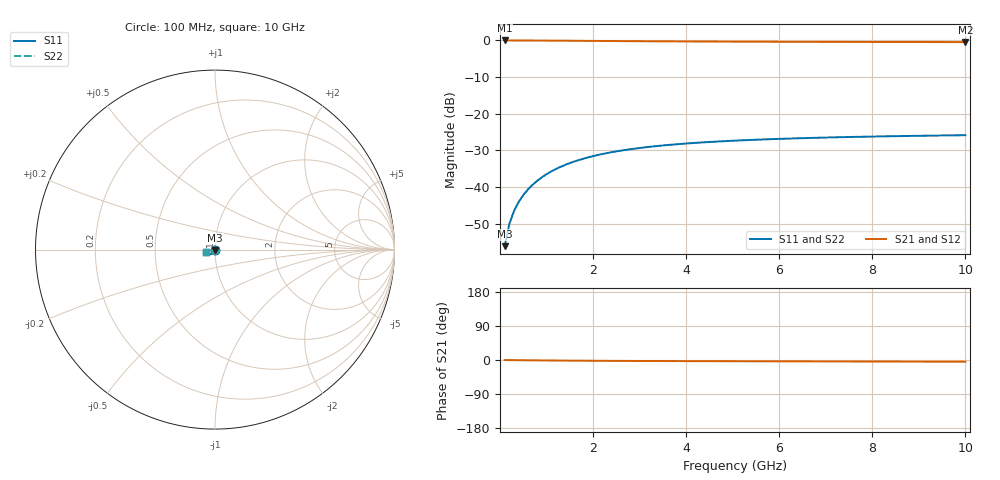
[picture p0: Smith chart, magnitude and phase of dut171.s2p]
! Touchstone file exported from HFSS 2024.1.0
!  File:  C:/UserFiles/LocalFiles/RDL_TSV_Batchsim/temp_TSV1_171_1779383256.aedt
!  Generated:  01:12:28 AM May 22, 2026
!  Design:  TSV1
!  Project:  temp_TSV1_171_1779383256
!  Setup:  Setup1
!  Solution:  Sweep
! Variables:
!  dtsv = 14.91um
!  hbump = 3um
!  htsv = 66.43um
!  lrdl = 252.1521522um
!  p = 40
!  p1 = 53.48um
!  t = 500um
!  trdl = 3um
!  wrdl = 24.89489489um
# GHz S MA R 50.000000
! Terminal data exported
! Port[1] = TSV22_T1
! Port[2] = TSV22_T2
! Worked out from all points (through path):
!   100 points, 100 MHz to 10 GHz, reference 50 ohm
!   highest |S21| = 0.00 dB at 100 MHz (marker M1); lowest = -0.4 dB at 10 GHz (marker M2)
!   lowest |S11| = -56.1 dB at 100 MHz (marker M3), VSWR 1.00, Z = 50 - j0.156 ohm
!   |S11| at or under -10 dB: start of sweep to end of sweep
!   |S22| runs from -56.1 to -25.9 dB; largest |S21 - S12| = 3.6e-15
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0.1  0.001558 -89.2  0.9999 -0.1  0.9999 -0.1  0.001558 -89.2
! Gamma 0 0 0 0
! Port Impedance 50 0 50 0
0.2  0.003115 -92.2  0.9997 -0.3  0.9997 -0.3  0.003115 -92.2
0.3  0.004669 -94.4  0.9994 -0.4  0.9994 -0.4  0.004669 -94.4
0.4  0.006213 -96.5  0.9991 -0.5  0.9991 -0.5  0.006213 -96.5
0.5  0.007738 -98.4  0.9986 -0.6  0.9986 -0.6  0.007738 -98.4
0.6  0.00924 -100.3  0.9981 -0.8  0.9981 -0.8  0.00924 -100.3
0.7  0.01071 -102.2  0.9975 -0.9  0.9975 -0.9  0.01071 -102.2
0.8  0.01216 -104.0  0.9968 -1.0  0.9968 -1.0  0.01216 -104.0
0.9  0.01356 -105.8  0.9961 -1.1  0.9961 -1.1  0.01356 -105.8
1.1  0.01627 -109.2  0.9944 -1.3  0.9944 -1.3  0.01627 -109.2
1.4  0.02002 -114.0  0.9917 -1.6  0.9917 -1.6  0.02002 -114.0
1.6  0.0223 -117.0  0.9897 -1.7  0.9897 -1.7  0.0223 -117.0
1.8  0.02442 -119.8  0.9877 -1.9  0.9877 -1.9  0.02442 -119.8
2.1  0.0273 -123.7  0.9848 -2.1  0.9848 -2.1  0.0273 -123.7
2.5  0.03062 -128.3  0.981 -2.3  0.981 -2.3  0.03062 -128.3
2.9  0.03343 -132.4  0.9774 -2.5  0.9774 -2.5  0.03343 -132.4
3.4  0.03636 -136.9  0.9735 -2.7  0.9735 -2.7  0.03636 -136.9
4.2  0.04002 -142.8  0.9682 -3.0  0.9682 -3.0  0.04002 -142.8
5.1  0.04307 -148.2  0.9634 -3.3  0.9634 -3.3  0.04307 -148.2
6.7  0.04678 -155.5  0.9573 -3.7  0.9573 -3.7  0.04678 -155.5
8.4  0.04931 -161.3  0.953 -4.1  0.953 -4.1  0.04931 -161.3
10  0.05093 -165.6  0.9502 -4.5  0.9502 -4.5  0.05093 -165.6
